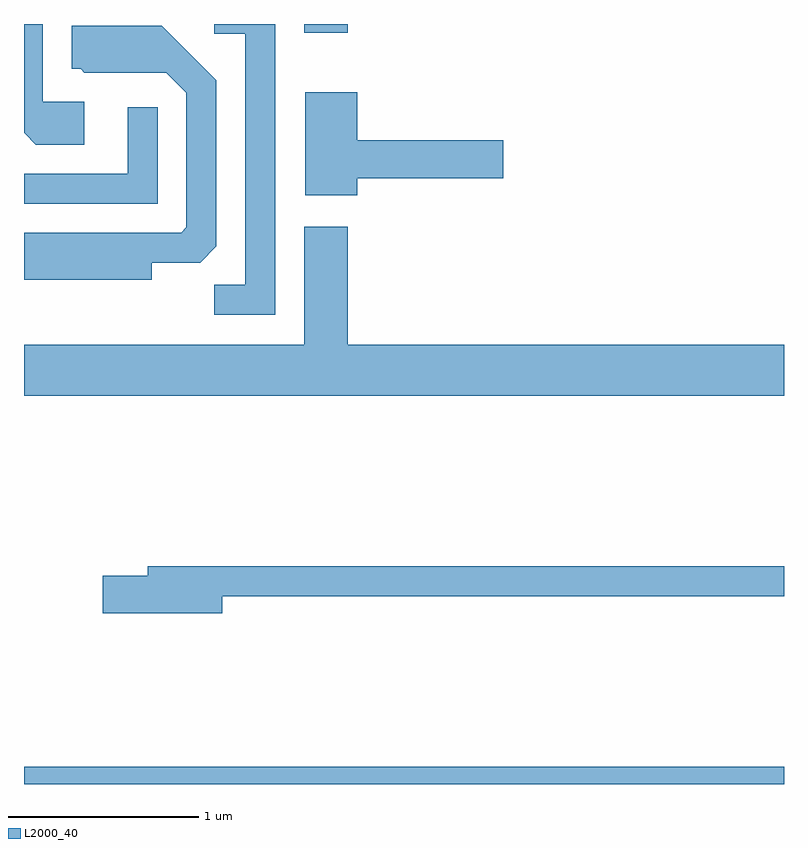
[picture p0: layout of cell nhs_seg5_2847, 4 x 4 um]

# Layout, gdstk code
import gdstk
lib = gdstk.Library(unit=1e-6, precision=1e-09)
def R(c, l, rs):  # rectangles x0, y0, x1, y1
    for r in rs: c.add(gdstk.rectangle(r[:2], r[2:], *l))
def P(c, l, *ps):  # polygons
    for p in ps: c.add(gdstk.Polygon(p, *l))
L2000_40 = (2000, 40)

nhs_seg5_2847 = lib.new_cell('nhs_seg5_2847')
R(nhs_seg5_2847, L2000_40, [(269.611,1468.072,273.611,1468.164), (271.086,1472.026,271.314,1472.072)])
P(nhs_seg5_2847, L2000_40, [(270.934,1472.072),(270.613,1472.072),(270.613,1472.021),(270.776,1472.021),(270.776,1470.699),(270.613,1470.699),(270.613,1470.541),(270.934,1470.541)],
  [(269.929,1471.664),(269.709,1471.664),(269.709,1472.072),(269.611,1472.072),(269.611,1471.499),(269.674,1471.436),(269.929,1471.436)],
  [(270.284,1470.816),(270.539,1470.816),(270.624,1470.902),(270.624,1471.777),(270.337,1472.064),(269.861,1472.064),(269.861,1471.836),(269.909,1471.836),(269.929,1471.816),(270.359,1471.816),(270.466,1471.709),(270.466,1471.002),(270.439,1470.974),(269.611,1470.974),(269.611,1470.726),(270.284,1470.726)],
  [(271.364,1471.261),(272.134,1471.261),(272.134,1471.459),(271.364,1471.459),(271.364,1471.714),(271.091,1471.714),(271.091,1471.171),(271.364,1471.171)],
  [(270.314,1471.633),(270.156,1471.633),(270.156,1471.284),(269.611,1471.284),(269.611,1471.126),(270.314,1471.126)],
  [(273.611,1470.384),(271.314,1470.384),(271.314,1471.004),(271.086,1471.004),(271.086,1470.384),(269.611,1470.384),(269.611,1470.116),(273.611,1470.116)],
  [(270.654,1469.061),(273.611,1469.061),(273.611,1469.219),(270.261,1469.219),(270.261,1469.169),(270.026,1469.169),(270.026,1468.971),(270.654,1468.971)])

lib.write_gds('nhs_seg5_2847.gds')
